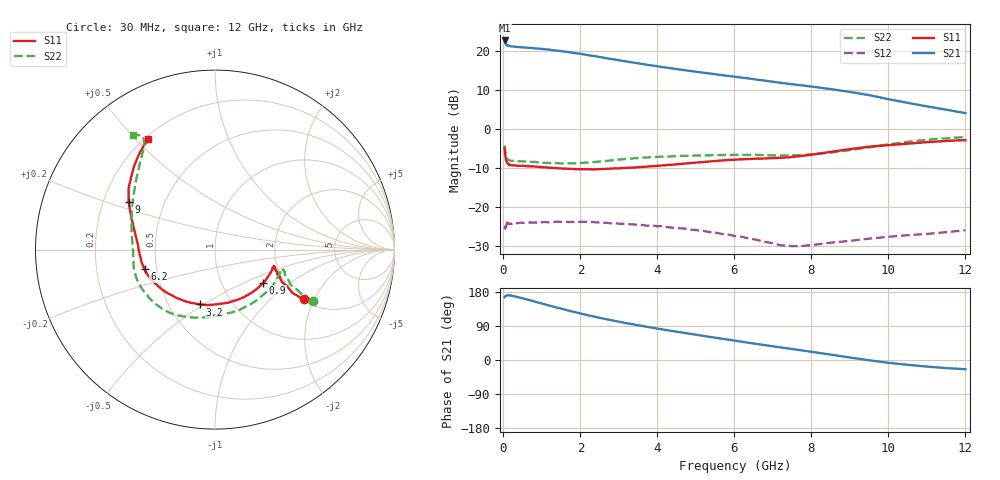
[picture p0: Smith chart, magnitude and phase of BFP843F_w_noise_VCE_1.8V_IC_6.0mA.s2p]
! Infineon Technologies  Discrete & RF Semiconductors
! BFP843F
! VCE =  1.8 V,  IC =  6.0 mA
! Common Emitter S-Parameters:  Aug 2013
# GHz  S  MA  R  50
!  f  S11  S21  S12  S22
! GHz  MAG  ANG  MAG  ANG  MAG  ANG  MAG  ANG
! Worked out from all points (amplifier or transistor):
!   103 points, 30 MHz to 12 GHz, reference 50 ohm
!   highest |S21| = 22.7 dB at 30 MHz (marker M1)
!   |S21| within 3 dB of that: start of sweep to 1.694 GHz
!   unconditionally stable (mu >= 1): 170.4 MHz to 669.5 MHz; 3.28 GHz to end of sweep
!   at 400 MHz: K = 1.01, MAG = 22.1 dB, |S12| = -24.2 dB
!   at 3.7 GHz: K = 1.04, MAG = 19.4 dB, |S12| = -24.8 dB
!   at 12 GHz: K = 1.41, MAG = 11.2 dB, |S12| = -26.0 dB
!   lowest NFmin = 0.80 dB at 450 MHz
!   S11 on the Smith chart (normalised r, x): 30 MHz: 2.04, -1.67; 900 MHz: 1.57, -0.65; 3.2 GHz: 0.71, -0.48; 6.2 GHz: 0.43, -0.11; 9 GHz: 0.31, +0.24; 12 GHz: 0.21, +0.54
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0.03  0.5674 -29.3  13.65 165.7  0.0513 31.8  0.6149 -27.8
0.04  0.494 -29.2  12.95 166.3  0.0553 26.2  0.5393 -27.0
0.05  0.4524 -27.0  12.43 168.7  0.0532 23.3  0.4984 -25.7
0.07  0.3974 -24.0  12.05 169.8  0.0577 16.1  0.4462 -22.8
0.1  0.3672 -19.5  11.7 170.5  0.0614 12.1  0.4097 -19.0
0.15  0.3497 -17.0  11.62 170.8  0.0611 6.6  0.3942 -16.3
0.7  0.3308 -27.9  10.96 157.3  0.063 0.6  0.3791 -30.4
0.9  0.3264 -34.8  10.74 151.6  0.0631 -0.6  0.3734 -38.3
1.4  0.3136 -52.3  10.08 138.0  0.0645 -3.4  0.3632 -58.6
1.7  0.3075 -62.7  9.658 130.2  0.0638 -5.0  0.3614 -70.5
2.1  0.3046 -75.7  9.017 120.3  0.0641 -7.8  0.3685 -85.7
2.7  0.3081 -92.7  8.028 107.0  0.0622 -11.3  0.3892 -103.8
3.2  0.3166 -105.2  7.328 97.1  0.0602 -13.5  0.4126 -115.5
4.1  0.3391 -125.4  6.248 81.2  0.0566 -17.7  0.4401 -130.7
5.1  0.3727 -145.4  5.34 65.1  0.0494 -20.4  0.4552 -145.6
6.1  0.4064 -162.7  4.617 49.6  0.0416 -20.6  0.4656 -160.0
6.2  0.4078 -164.4  4.543 48.1  0.0414 -21.0  0.4657 -161.5
7.3  0.4287 177.1  3.855 31.8  0.032 -9.1  0.4562 -177.8
8.5  0.5078 157.5  3.245 14.2  0.0347 8.0  0.4968 159.4
9  0.5506 151.0  2.983 6.6  0.0366 11.6  0.5349 148.8
10.5  0.6468 134.2  2.159 -12.7  0.0433 18.1  0.6831 125.8
12  0.7186 121.1  1.595 -24.3  0.0501 23.8  0.7874 125.6
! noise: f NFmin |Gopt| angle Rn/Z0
0.45  0.8  0.11  13  0.05
0.9  0.82  0.12  23  0.06
1.5  0.87  0.12  32  0.06
1.9  0.92  0.12  47  0.06
2.4  0.96  0.13  61  0.07
3.5  1.03  0.14  93  0.12
5.5  1.14  0.16  159  0.17
10  1.81  0.38  -122  0.23
